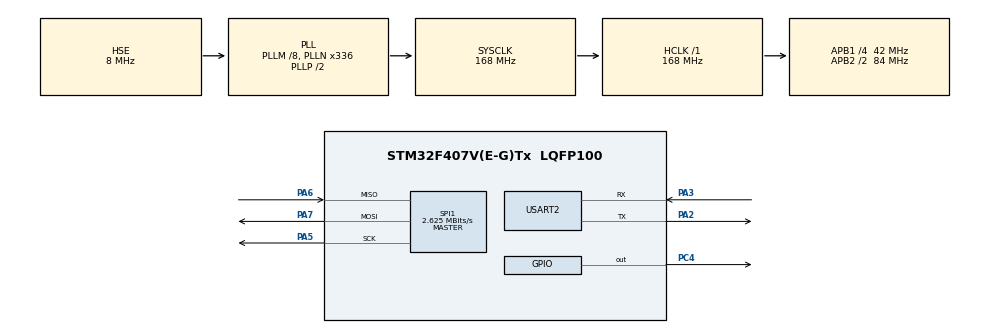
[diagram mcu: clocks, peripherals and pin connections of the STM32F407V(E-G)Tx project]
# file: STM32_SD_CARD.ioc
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FATFS._MAX_SS=4096
FATFS._USE_LFN=1
Mcu.Family=STM32F4
Mcu.Name=STM32F407V(E-G)Tx
Mcu.Package=LQFP100
NVIC.PriorityGroup=NVIC_PRIORITYGROUP_0
PA13.Mode=Serial_Wire
PA13.Signal=SYS_JTMS-SWDIO
PA14.Mode=Serial_Wire
PA14.Signal=SYS_JTCK-SWCLK
PA2.Mode=Asynchronous
PA2.Signal=USART2_TX
PA3.Mode=Asynchronous
PA3.Signal=USART2_RX
PA5.Mode=Full_Duplex_Master
PA5.Signal=SPI1_SCK
PA6.Mode=Full_Duplex_Master
PA6.Signal=SPI1_MISO
PA7.Mode=Full_Duplex_Master
PA7.Signal=SPI1_MOSI
PC4.Signal=GPIO_Output
PH0-OSC_IN.Mode=HSE-External-Oscillator
PH0-OSC_IN.Signal=RCC_OSC_IN
PH1-OSC_OUT.Mode=HSE-External-Oscillator
PH1-OSC_OUT.Signal=RCC_OSC_OUT
ProjectManager.HeapSize=0x200
ProjectManager.StackSize=0x400
ProjectManager.TargetToolchain=STM32CubeIDE
RCC.48MHZClocksFreq_Value=48000000
RCC.AHBFreq_Value=168000000
RCC.APB1CLKDivider=RCC_HCLK_DIV4
RCC.APB1Freq_Value=42000000
RCC.APB1TimFreq_Value=84000000
RCC.APB2CLKDivider=RCC_HCLK_DIV2
RCC.APB2Freq_Value=84000000
RCC.APB2TimFreq_Value=168000000
RCC.CortexFreq_Value=168000000
RCC.HCLKFreq_Value=168000000
RCC.HSE_VALUE=8000000
RCC.HSI_VALUE=16000000
RCC.LSE_VALUE=32768
RCC.PLLM=8
RCC.PLLN=336
RCC.PLLQ=7
RCC.PLLSourceVirtual=RCC_PLLSOURCE_HSE
RCC.SYSCLKFreq_VALUE=168000000
RCC.SYSCLKSource=RCC_SYSCLKSOURCE_PLLCLK
RCC.VCOOutputFreq_Value=336000000
SPI1.BaudRatePrescaler=SPI_BAUDRATEPRESCALER_32
SPI1.CalculateBaudRate=2.625 MBits/s
SPI1.Direction=SPI_DIRECTION_2LINES
SPI1.Mode=SPI_MODE_MASTER
SPI1.VirtualType=VM_MASTER
USART2.VirtualMode=VM_ASYNC
VP_FATFS_VS_Generic.Mode=User_defined
board=STM32F407G-DISC1

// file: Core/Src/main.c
/* USER CODE BEGIN Header */
/**
  ******************************************************************************
  * @file           : main.c
  * @brief          : Main program body
  ******************************************************************************
  * @attention
  *
  * Copyright (c) 2025 STMicroelectronics.
  * All rights reserved.
  *
  * This software is licensed under terms that can be found in the LICENSE file
  * in the root directory of this software component.
  * If no LICENSE file comes with this software, it is provided AS-IS.
  *
  ******************************************************************************
  */
/* USER CODE END Header */
#include "main.h"
#include "fatfs.h"

SPI_HandleTypeDef hspi1;

UART_HandleTypeDef huart2;

void SystemClock_Config(void);
static void MX_GPIO_Init(void);
static void MX_SPI1_Init(void);
static void MX_USART2_UART_Init(void);

/* USER CODE BEGIN 0 */

#include "fatfs_sd.h"
#include "string.h"

FATFS fs; 			// File System
FIL file; 			// File
FRESULT fresult;    // To store the result
char buffer[1024];  // To store data
UINT br, bw;        // File read/write count

/* Capacity Related Variables */
FATFS *pfs;
DWORD fre_clust;
uint32_t total, free_space;

/* USART FUNCTION */
void send_uart(char *string)
{
	uint8_t len = strlen(string);
	HAL_UART_Transmit(&huart2, (uint8_t *)string, len, 1000);
}

/* Buffer Size */
int bufsize(char *buf)
{
	int i=0;
	while(*buf++ != '\0')
		i++;
	return i++;
}

void bufclear(void)
{
	for(int i=0;i<1024;i++)
	{
		buffer[i]='\0';
	}
}

/* USER CODE END 0 */

int main(void)
{

  /* MCU Configuration--------------------------------------------------------*/

  /* Reset of all peripherals, Initializes the Flash interface and the Systick. */
  HAL_Init();

  /* Configure the system clock */
  SystemClock_Config();

  /* Initialize all configured peripherals */
  MX_GPIO_Init();
  MX_SPI1_Init();
  MX_FATFS_Init();
  MX_USART2_UART_Init();
  /* USER CODE BEGIN 2 */

  /* Mount SD Card */
  fresult = f_mount(&fs, "/", 1);
  if (fresult != FR_OK) send_uart ("SD CARD: ERROR!!! in mounting SD CARD...\n\n");
  else send_uart("SD CARD mounted successfully...\n\n");

  /* Card Capacity Details */
  f_getfree("", &fre_clust, &pfs);

  total = (uint32_t)((pfs->n_fatent-2) * pfs->csize * 0.5);
  sprintf(buffer, "SD CARD: SD CARD Total Size: \t%lu\n", total);
  send_uart(buffer);
  bufclear();
  free_space = (uint32_t)(fre_clust * pfs->csize * 0.5);
  sprintf(buffer, "SD CARD: SD CARD Free Space: \t%lu\n", free_space);
  send_uart(buffer);

  /* PUTS and GETS */

  //Open file to write.(Create a new file if doesn't exist)
  fresult = f_open(&file, "eren.txt", FA_OPEN_ALWAYS | FA_READ | FA_WRITE);

  //Writing Text
  fresult = f_puts("SD CARD (eren.txt): Hello World. Selam dunya\n\n", &file);

  //Close file
  fresult = f_close(&file);

  //Open file to read
  fresult = f_open(&file, "eren.txt", FA_READ);

  //Read string from the file
  f_gets(buffer, file.obj.objsize, &file);

  send_uart(buffer);

  //Close file
  fresult = f_close(&file);

  bufclear();

  send_uart("SD CARD: eren.txt created and the data is written\n");

  /* USER CODE END 2 */

  /* Infinite loop */
  while (1)
  {

  }
}

void SystemClock_Config(void)
{
  RCC_OscInitTypeDef RCC_OscInitStruct = {0};
  RCC_ClkInitTypeDef RCC_ClkInitStruct = {0};

  /** Configure the main internal regulator output voltage
  */
  __HAL_RCC_PWR_CLK_ENABLE();
  __HAL_PWR_VOLTAGESCALING_CONFIG(PWR_REGULATOR_VOLTAGE_SCALE1);

  /** Initializes the RCC Oscillators according to the specified parameters
  * in the RCC_OscInitTypeDef structure.
  */
  RCC_OscInitStruct.OscillatorType = RCC_OSCILLATORTYPE_HSE;
  RCC_OscInitStruct.HSEState = RCC_HSE_ON;
  RCC_OscInitStruct.PLL.PLLState = RCC_PLL_ON;
  RCC_OscInitStruct.PLL.PLLSource = RCC_PLLSOURCE_HSE;
  RCC_OscInitStruct.PLL.PLLM = 8;
  RCC_OscInitStruct.PLL.PLLN = 336;
  RCC_OscInitStruct.PLL.PLLP = RCC_PLLP_DIV2;
  RCC_OscInitStruct.PLL.PLLQ = 7;
  if (HAL_RCC_OscConfig(&RCC_OscInitStruct) != HAL_OK)
  {
    Error_Handler();
  }

  /** Initializes the CPU, AHB and APB buses clocks
  */
  RCC_ClkInitStruct.ClockType = RCC_CLOCKTYPE_HCLK|RCC_CLOCKTYPE_SYSCLK
                              |RCC_CLOCKTYPE_PCLK1|RCC_CLOCKTYPE_PCLK2;
  RCC_ClkInitStruct.SYSCLKSource = RCC_SYSCLKSOURCE_PLLCLK;
  RCC_ClkInitStruct.AHBCLKDivider = RCC_SYSCLK_DIV1;
  RCC_ClkInitStruct.APB1CLKDivider = RCC_HCLK_DIV4;
  RCC_ClkInitStruct.APB2CLKDivider = RCC_HCLK_DIV2;

  if (HAL_RCC_ClockConfig(&RCC_ClkInitStruct, FLASH_LATENCY_5) != HAL_OK)
  {
    Error_Handler();
  }
}

static void MX_SPI1_Init(void)
{

  /* SPI1 parameter configuration*/
  hspi1.Instance = SPI1;
  hspi1.Init.Mode = SPI_MODE_MASTER;
  hspi1.Init.Direction = SPI_DIRECTION_2LINES;
  hspi1.Init.DataSize = SPI_DATASIZE_8BIT;
  hspi1.Init.CLKPolarity = SPI_POLARITY_LOW;
  hspi1.Init.CLKPhase = SPI_PHASE_1EDGE;
  hspi1.Init.NSS = SPI_NSS_SOFT;
  hspi1.Init.BaudRatePrescaler = SPI_BAUDRATEPRESCALER_32;
  hspi1.Init.FirstBit = SPI_FIRSTBIT_MSB;
  hspi1.Init.TIMode = SPI_TIMODE_DISABLE;
  hspi1.Init.CRCCalculation = SPI_CRCCALCULATION_DISABLE;
  hspi1.Init.CRCPolynomial = 10;
  if (HAL_SPI_Init(&hspi1) != HAL_OK)
  {
    Error_Handler();
  }

}

static void MX_USART2_UART_Init(void)
{

  huart2.Instance = USART2;
  huart2.Init.BaudRate = 115200;
  huart2.Init.WordLength = UART_WORDLENGTH_8B;
  huart2.Init.StopBits = UART_STOPBITS_1;
  huart2.Init.Parity = UART_PARITY_NONE;
  huart2.Init.Mode = UART_MODE_TX_RX;
  huart2.Init.HwFlowCtl = UART_HWCONTROL_NONE;
  huart2.Init.OverSampling = UART_OVERSAMPLING_16;
  if (HAL_UART_Init(&huart2) != HAL_OK)
  {
    Error_Handler();
  }

}

static void MX_GPIO_Init(void)
{
  GPIO_InitTypeDef GPIO_InitStruct = {0};

  /* GPIO Ports Clock Enable */
  __HAL_RCC_GPIOH_CLK_ENABLE();
  __HAL_RCC_GPIOA_CLK_ENABLE();
  __HAL_RCC_GPIOC_CLK_ENABLE();

  /*Configure GPIO pin Output Level */
  HAL_GPIO_WritePin(GPIOC, GPIO_PIN_4, GPIO_PIN_RESET);

  /*Configure GPIO pin : PC4 */
  GPIO_InitStruct.Pin = GPIO_PIN_4;
  GPIO_InitStruct.Mode = GPIO_MODE_OUTPUT_PP;
  GPIO_InitStruct.Pull = GPIO_NOPULL;
  GPIO_InitStruct.Speed = GPIO_SPEED_FREQ_LOW;
  HAL_GPIO_Init(GPIOC, &GPIO_InitStruct);

}

void Error_Handler(void)
{
  __disable_irq();
  while (1)
  {
  }
}
